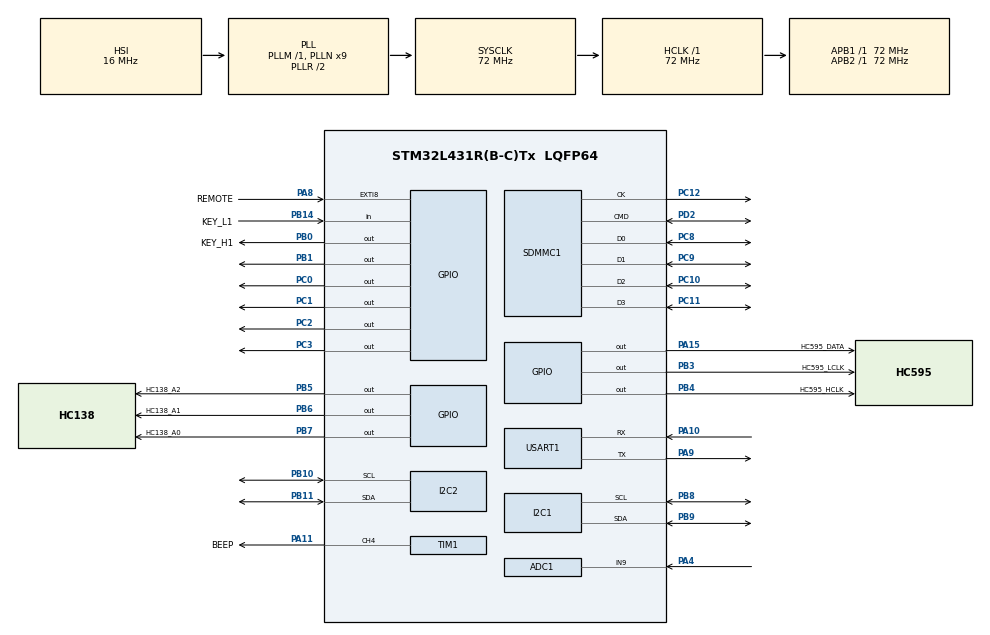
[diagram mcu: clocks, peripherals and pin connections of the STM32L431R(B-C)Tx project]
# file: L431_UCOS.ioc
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ADC1.Channel-0\#ChannelRegularConversion=ADC_CHANNEL_9
ADC1.NbrOfConversionFlag=1
ADC1.OffsetNumber-0\#ChannelRegularConversion=ADC_OFFSET_NONE
ADC1.Rank-0\#ChannelRegularConversion=1
ADC1.SamplingTime-0\#ChannelRegularConversion=ADC_SAMPLETIME_2CYCLES_5
ADC1.master=1
I2C1.Timing=0x10C18DCC
I2C2.Timing=0x10C18DCC
Mcu.Family=STM32L4
Mcu.Name=STM32L431R(B-C)Tx
Mcu.Package=LQFP64
NVIC.EXTI9_5_IRQn=true\:0\:0\:false\:false\:true\:true\:true\:true
NVIC.PriorityGroup=NVIC_PRIORITYGROUP_4
PA10.Mode=Asynchronous
PA10.Signal=USART1_RX
PA11.GPIO_Label=BEEP
PA11.Signal=S_TIM1_CH4
PA13\ (JTMS-SWDIO).Mode=Serial_Wire
PA13\ (JTMS-SWDIO).Signal=SYS_JTMS-SWDIO
PA14\ (JTCK-SWCLK).Mode=Serial_Wire
PA14\ (JTCK-SWCLK).Signal=SYS_JTCK-SWCLK
PA15\ (JTDI).GPIO_Label=HC595_DATA
PA15\ (JTDI).GPIO_Speed=GPIO_SPEED_FREQ_HIGH
PA15\ (JTDI).PinState=GPIO_PIN_RESET
PA15\ (JTDI).Signal=GPIO_Output
PA4.Signal=ADCx_IN9
PA8.GPIO_Label=REMOTE
PA8.GPIO_ModeDefaultEXTI=GPIO_MODE_IT_RISING_FALLING
PA8.Signal=GPXTI8
PA9.Mode=Asynchronous
PA9.Signal=USART1_TX
PB0.GPIO_Label=KEY_H1
PB0.PinState=GPIO_PIN_SET
PB0.Signal=GPIO_Output
PB1.PinState=GPIO_PIN_SET
PB1.Signal=GPIO_Output
PB10.Mode=I2C
PB10.Signal=I2C2_SCL
PB11.Mode=I2C
PB11.Signal=I2C2_SDA
PB14.GPIO_Label=KEY_L1
PB14.GPIO_PuPd=GPIO_PULLUP
PB14.Signal=GPIO_Input
PB3\ (JTDO-TRACESWO).GPIO_Label=HC595_LCLK
PB3\ (JTDO-TRACESWO).GPIO_Speed=GPIO_SPEED_FREQ_HIGH
PB3\ (JTDO-TRACESWO).Signal=GPIO_Output
PB4\ (NJTRST).GPIO_Label=HC595_HCLK
PB4\ (NJTRST).GPIO_Speed=GPIO_SPEED_FREQ_HIGH
PB4\ (NJTRST).Signal=GPIO_Output
PB5.GPIO_Label=HC138_A2
PB5.GPIO_Speed=GPIO_SPEED_FREQ_HIGH
PB5.Signal=GPIO_Output
PB6.GPIO_Label=HC138_A1
PB6.GPIO_Speed=GPIO_SPEED_FREQ_HIGH
PB6.Signal=GPIO_Output
PB7.GPIO_Label=HC138_A0
PB7.GPIO_Speed=GPIO_SPEED_FREQ_HIGH
PB7.Signal=GPIO_Output
PB8.Mode=I2C
PB8.Signal=I2C1_SCL
PB9.Mode=I2C
PB9.Signal=I2C1_SDA
PC0.Signal=GPIO_Output
PC1.Signal=GPIO_Output
PC10.Mode=SD_4_bits_Wide_bus
PC10.Signal=SDMMC1_D2
PC11.Mode=SD_4_bits_Wide_bus
PC11.Signal=SDMMC1_D3
PC12.Mode=SD_4_bits_Wide_bus
PC12.Signal=SDMMC1_CK
PC2.Signal=GPIO_Output
PC3.Signal=GPIO_Output
PC8.Mode=SD_4_bits_Wide_bus
PC8.Signal=SDMMC1_D0
PC9.Mode=SD_4_bits_Wide_bus
PC9.Signal=SDMMC1_D1
PD2.Mode=SD_4_bits_Wide_bus
PD2.Signal=SDMMC1_CMD
PH0-OSC_IN\ (PH0).Mode=HSE-External-Oscillator
PH0-OSC_IN\ (PH0).Signal=RCC_OSC_IN
PH1-OSC_OUT\ (PH1).Mode=HSE-External-Oscillator
PH1-OSC_OUT\ (PH1).Signal=RCC_OSC_OUT
ProjectManager.HeapSize=0x200
ProjectManager.StackSize=0x400
ProjectManager.TargetToolchain=STM32CubeIDE
RCC.ADCFreq_Value=64000000
RCC.AHBFreq_Value=72000000
RCC.APB1Freq_Value=72000000
RCC.APB1TimFreq_Value=72000000
RCC.APB2Freq_Value=72000000
RCC.APB2TimFreq_Value=72000000
RCC.CortexFreq_Value=72000000
RCC.HCLKFreq_Value=72000000
RCC.HSE_VALUE=8000000
RCC.HSI48_VALUE=48000000
RCC.HSI_VALUE=16000000
RCC.LSE_VALUE=32768
RCC.MSI_VALUE=4000000
RCC.PLLN=9
RCC.PLLSAI1Q=RCC_PLLQ_DIV4
RCC.PLLSourceVirtual=RCC_PLLSOURCE_HSI
RCC.SYSCLKFreq_VALUE=72000000
RCC.SYSCLKSource=RCC_SYSCLKSOURCE_PLLCLK
RCC.VCOOutputFreq_Value=144000000
SH.ADCx_IN9.0=ADC1_IN9,IN9-Single-Ended
SH.S_TIM1_CH4.0=TIM1_CH4,PWM Generation4 CH4
TIM1.Channel-PWM\ Generation4\ CH4=TIM_CHANNEL_4
USART1.VirtualMode-Asynchronous=VM_ASYNC
VP_FATFS_VS_SDIO.Mode=SDIO
VP_RTC_VS_RTC_Activate.Mode=RTC_Enabled
VP_TIM1_VS_ClockSourceINT.Mode=Internal
board=custom

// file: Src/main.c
/* USER CODE BEGIN Header */
/**
  ******************************************************************************
  * @file           : main.c
  * @brief          : Main program body
  ******************************************************************************
  * @attention
  *
  * Copyright (c) 2026 STMicroelectronics.
  * All rights reserved.
  *
  * This software is licensed under terms that can be found in the LICENSE file
  * in the root directory of this software component.
  * If no LICENSE file comes with this software, it is provided AS-IS.
  *
  ******************************************************************************
  */
/* USER CODE END Header */
#include "main.h"
#include "adc.h"
#include "fatfs.h"
#include "i2c.h"
#include "rtc.h"
#include "sdmmc.h"
#include "tim.h"
#include "usart.h"
#include "gpio.h"

/* USER CODE BEGIN Includes */
#include "os.h"
#include "cpu.h"
#include "OLED.h"
#include "bmp280.h"
#include "Timer.h"
#include "TF.h"
#include "key.h"
#include "EEPROM.h"
#include "REMOTE.h"
#include <stdio.h>
/* USER CODE END Includes */

/* USER CODE BEGIN PD */
#define BUZZER_FORCE_TEST            0U

/* USER CODE END PD */

/* USER CODE BEGIN PV */
OS_TCB ADCTaskTCB;

CPU_STK ADCTaskStk[256];

OS_TCB OLEDTaskTCB;
CPU_STK OLEDTaskStk[256];

OS_TCB SegmentTaskTCB;
CPU_STK SegmentTaskStk[256];

OS_TCB TFTaskTCB;
CPU_STK TFTaskStk[256];

OS_TCB KeyTaskTCB;
CPU_STK KeyTaskStk[256];

static volatile uint16_t LatestAdcRaw = 0U;
static volatile float LatestLightLux = 0.0f;
static volatile float LatestTemperatureC = 0.0f;
static volatile CPU_BOOLEAN TemperatureValid = DEF_FALSE;
static volatile CPU_BOOLEAN DisplayKey1Page = DEF_FALSE;
static volatile CPU_BOOLEAN EnvironmentDisplayDirty = DEF_FALSE;
static volatile float BuzzerLightThresholdLux =
    BUZZER_LIGHT_THRESHOLD_DEFAULT_LUX;

void ADCTask(void *p_arg);
void OLEDTask(void *p_arg);
void SegmentTask(void *p_arg);
void TFTask(void *p_arg);
void KeyTask(void *p_arg);
/* USER CODE END PV */

void SystemClock_Config(void);
void PeriphCommonClock_Config(void);
/* USER CODE BEGIN PFP */
void ADCTask(void *p_arg)
{
    OS_ERR err;
    CPU_BOOLEAN buzzer_on = DEF_FALSE;

    (void)p_arg;

    /* Initialize the uC/OS tick in the first/highest-priority app task. */
    OS_CPU_SysTickInitFreq(SystemCoreClock);

    if (LightSensor_Init() != HAL_OK)
    {
        printf("ADC init failed\r\n");
    }

#if BUZZER_FORCE_TEST
    if (HAL_TIM_PWM_Start(&htim1, TIM_CHANNEL_4) == HAL_OK)
    {
        buzzer_on = DEF_TRUE;
        printf("Buzzer force test: PWM started, BEEP=ON\r\n");
    }
    else
    {
        printf("Buzzer force test: PWM start failed, BEEP=OFF\r\n");
    }
#endif

    while(1)
    {
        uint16_t adc_raw = LightSensor_ReadRaw();
        float lux = LightSensor_ConvertToLux(adc_raw);
        LatestAdcRaw = adc_raw;
        LatestLightLux = lux;

#if !BUZZER_FORCE_TEST
        if ((lux > BuzzerLightThresholdLux) &&
            (buzzer_on == DEF_FALSE))
        {
            if (HAL_TIM_PWM_Start(&htim1, TIM_CHANNEL_4) == HAL_OK)
                buzzer_on = DEF_TRUE;
            else
                printf("Buzzer PWM start failed\r\n");
        }
        else if ((lux <= BuzzerLightThresholdLux) &&
                 (buzzer_on == DEF_TRUE))
        {
            if (HAL_TIM_PWM_Stop(&htim1, TIM_CHANNEL_4) == HAL_OK)
                buzzer_on = DEF_FALSE;
            else
                printf("Buzzer PWM stop failed\r\n");
        }
#endif

        HAL_GPIO_TogglePin(GPIOC, GPIO_PIN_1);
        printf("ADC=%u, Light=%lu.%lu lux, BEEP=%s\r\n", adc_raw,
               (unsigned long)((uint32_t)(lux * 10.0f) / 10U),
               (unsigned long)((uint32_t)(lux * 10.0f) % 10U),
               (buzzer_on == DEF_TRUE) ? "ON" : "OFF");

        OSTimeDly(OSCfg_TickRate_Hz, OS_OPT_TIME_DLY, &err);
        if (err != OS_ERR_NONE)
        {
            printf("ADCTask delay error=%u\r\n", (unsigned int)err);
        }
    }
}

void OLEDTask(void *p_arg)
{
    OS_ERR err;
    float temperature_c = 0.0f;
    float pressure_pa = 0.0f;
    CPU_BOOLEAN bmp280_ready = DEF_FALSE;
    CPU_BOOLEAN eeprom_ready = DEF_FALSE;
    CPU_BOOLEAN previous_key_page = DEF_FALSE;
    uint8_t animation_frame = 0U;
    uint8_t sensor_ticks = 10U;
    uint8_t eeprom_sample_count = 10U;
    (void)p_arg;

    if (OLED_Init() != HAL_OK)
        printf("OLED init failed\r\n");

    if (EEPROM_Init(&hi2c1) == HAL_OK)
    {
        eeprom_ready = DEF_TRUE;
        if (EEPROM_LoadTemperature(&temperature_c) == HAL_OK)
        {
            LatestTemperatureC = temperature_c;
            TemperatureValid = DEF_TRUE;
            printf("EEPROM restored temperature=%ld.%02ld C\r\n",
                   (long)((int32_t)(temperature_c * 100.0f) / 100),
                   (long)((int32_t)(temperature_c * 100.0f) >= 0 ?
                          ((int32_t)(temperature_c * 100.0f) % 100) :
                          -((int32_t)(temperature_c * 100.0f) % 100)));
        }
        else
        {
            printf("EEPROM ready, no saved temperature\r\n");
        }
    }
    else
    {
        uint8_t address;
        printf("EEPROM not detected on I2C1 address 0x50\r\n");
        printf("I2C1 scan:");
        for (address = 0x03U; address <= 0x77U; ++address)
        {
            if (HAL_I2C_IsDeviceReady(&hi2c1, (uint16_t)address << 1U,
                                      1U, 10U) == HAL_OK)
            {
                printf(" 0x%02X", (unsigned int)address);
            }
        }
        printf("\r\n");
    }

    if (BMP280_Init(&hi2c2) == HAL_OK)
        bmp280_ready = DEF_TRUE;
    else
        printf("BMP280 init failed on I2C2 (PB10/PB11)\r\n");

    while (1)
    {
        CPU_BOOLEAN key_page = DisplayKey1Page;
        CPU_BOOLEAN environment_update = DEF_FALSE;
        float threshold_lux = BuzzerLightThresholdLux;

        /* Take a local snapshot so ADC task may continue sampling. */
        float lux = LatestLightLux;

        /* The task runs every 100 ms; update the BMP280 about once a second. */
        if (sensor_ticks >= 10U)
        {
            sensor_ticks = 0U;
            environment_update = DEF_TRUE;

            if (bmp280_ready == DEF_TRUE)
            {
                if (BMP280_ReadMeasurements(&hi2c2, &temperature_c,
                                            &pressure_pa) != HAL_OK)
                {
                    printf("BMP280 read failed, error=%u, i2c=%u\r\n",
                           (unsigned int)bmp280_last_error,
                           (unsigned int)HAL_I2C_GetError(&hi2c2));
                }
                else
                {
                    LatestTemperatureC = temperature_c;
                    TemperatureValid = DEF_TRUE;
                    printf("Temperature=%ld.%ld C, Pressure=%lu.%lu hPa\r\n",
                           (long)((int32_t)(temperature_c * 10.0f) / 10),
                           (long)((int32_t)(temperature_c * 10.0f) % 10),
                           (unsigned long)((uint32_t)(pressure_pa / 10.0f) / 10U),
                           (unsigned long)((uint32_t)(pressure_pa / 10.0f) % 10U));

                    if (eeprom_ready == DEF_TRUE)
                    {
                        if (eeprom_sample_count >= 10U)
                        {
                            eeprom_sample_count = 0U;
                            if (EEPROM_SaveTemperature(temperature_c) == HAL_OK)
                                printf("EEPROM temperature saved\r\n");
                            else
                                printf("EEPROM temperature save failed, i2c=%u\r\n",
                                       (unsigned int)HAL_I2C_GetError(&hi2c1));
                        }
                        else
                        {
                            eeprom_sample_count++;
                        }
                    }
                }
            }
        }
        else
        {
            sensor_ticks++;
        }

        if (key_page == DEF_TRUE)
        {
            if (previous_key_page == DEF_FALSE)
                animation_frame = 0U;

            (void)OLED_DisplayAnimationFrame(animation_frame);
            animation_frame++;
            if (animation_frame >= OLED_GetAnimationFrameCount())
                animation_frame = 0U;
        }
        else if ((previous_key_page == DEF_TRUE) ||
                 (environment_update == DEF_TRUE) ||
                 (EnvironmentDisplayDirty == DEF_TRUE))
        {
            (void)OLED_DisplayEnvironment(lux, temperature_c, pressure_pa,
                                          threshold_lux);
            EnvironmentDisplayDirty = DEF_FALSE;
        }

        previous_key_page = key_page;
        OSTimeDly((OSCfg_TickRate_Hz + 9U) / 10U,
                  OS_OPT_TIME_DLY, &err);
    }
}

void KeyTask(void *p_arg)
{
    OS_ERR err;
    (void)p_arg;

    KEY_Init();

    while (1)
    {
        KEY_Value_t key = KEY_DebounceProcess(10U);

        if (key == KEY_VALUE_ROW1_COL4)
        {
            DisplayKey1Page = (DisplayKey1Page == DEF_FALSE) ?
                              DEF_TRUE : DEF_FALSE;
            printf("KEY1_1 pressed, OLED=%s\r\n",
                   (DisplayKey1Page == DEF_TRUE) ? "KEY PAGE" : "ENV PAGE");
        }
        else if (key == KEY_VALUE_ROW2_COL4)
        {
            BuzzerLightThresholdLux += 10.0f;
            DisplayKey1Page = DEF_FALSE;
            EnvironmentDisplayDirty = DEF_TRUE;
            printf("KEY2_1 pressed, threshold=%lu lux\r\n",
                   (unsigned long)BuzzerLightThresholdLux);
        }

        OSTimeDly((OSCfg_TickRate_Hz + 99U) / 100U,
                  OS_OPT_TIME_DLY, &err);
    }
}

void TFTask(void *p_arg)
{
    OS_ERR err;
    const char *filename = "0:/temperature.csv";
    uint32_t elapsed_seconds = 0U;
    uint32_t records_written = 0U;
    uint32_t mount_attempts = 1U;
    CPU_BOOLEAN tf_ready = DEF_FALSE;
    (void)p_arg;

    printf("TF task started, drive=%s\r\n", SDPath);

    if (TF_Init() != 0U)
    {
        tf_ready = DEF_TRUE;
        printf("TF mounted successfully\r\n");
        /* A repeated header is harmless and clearly marks each power-up. */
        if (TF_Append(filename, "elapsed_s,temperature_c\r\n") == 0U)
            printf("TF header write failed, FatFs error=%u\r\n",
                   (unsigned int)TF_GetLastResult());
    }
    else
        printf("TF mount failed, FatFs=%u, HAL_SD state=%u, error=0x%08lX\r\n",
               (unsigned int)TF_GetLastResult(),
               (unsigned int)HAL_SD_GetState(&hsd1),
               (unsigned long)HAL_SD_GetError(&hsd1));
        printf("SD diag: clk=%luHz type=%lu ver=%lu rca=0x%04lX "
               "STA=0x%08lX RESP1=0x%08lX CLKCR=0x%08lX\r\n",
               (unsigned long)HAL_RCCEx_GetPeriphCLKFreq(RCC_PERIPHCLK_SDMMC1),
               (unsigned long)hsd1.SdCard.CardType,
               (unsigned long)hsd1.SdCard.CardVersion,
               (unsigned long)hsd1.SdCard.RelCardAdd,
               (unsigned long)hsd1.Instance->STA,
               (unsigned long)hsd1.Instance->RESP1,
               (unsigned long)hsd1.Instance->CLKCR);
        printf("SD pins: PC_IDR=0x%04lX PD_IDR=0x%04lX "
               "PC_AFRH=0x%08lX PD_AFRL=0x%08lX\r\n",
               (unsigned long)(GPIOC->IDR & 0xFFFFU),
               (unsigned long)(GPIOD->IDR & 0xFFFFU),
               (unsigned long)GPIOC->AFR[1],
               (unsigned long)GPIOD->AFR[0]);

    while (1)
    {
        /* Allow the system to recover if the card was inserted after boot. */
        if (tf_ready == DEF_FALSE)
        {
            mount_attempts++;
            if (TF_Init() != 0U)
            {
                tf_ready = DEF_TRUE;
                printf("TF recovered and mounted on attempt %lu\r\n",
                       (unsigned long)mount_attempts);
                (void)TF_Append(filename, "elapsed_s,temperature_c\r\n");
            }
            else
            {
                printf("TF still not ready, attempt=%lu, FatFs=%u, "
                       "state=%u, HAL error=0x%08lX\r\n",
                       (unsigned long)mount_attempts,
                       (unsigned int)TF_GetLastResult(),
                       (unsigned int)HAL_SD_GetState(&hsd1),
                       (unsigned long)HAL_SD_GetError(&hsd1));
                printf("SD retry diag: type=%lu ver=%lu rca=0x%04lX "
                       "blocks=%lu block_size=%lu RESP1=0x%08lX "
                       "STA=0x%08lX CLKCR=0x%08lX\r\n",
                       (unsigned long)hsd1.SdCard.CardType,
                       (unsigned long)hsd1.SdCard.CardVersion,
                       (unsigned long)hsd1.SdCard.RelCardAdd,
                       (unsigned long)hsd1.SdCard.LogBlockNbr,
                       (unsigned long)hsd1.SdCard.LogBlockSize,
                       (unsigned long)hsd1.Instance->RESP1,
                       (unsigned long)hsd1.Instance->STA,
                       (unsigned long)hsd1.Instance->CLKCR);
            }
        }

        if ((tf_ready == DEF_TRUE) && (TemperatureValid == DEF_TRUE))
        {
            float temperature_c = LatestTemperatureC;
            if (TF_AppendTemperature(filename, elapsed_seconds,
                                     temperature_c) == 0U)
            {
                tf_ready = DEF_FALSE;
                printf("TF temperature write failed, FatFs error=%u\r\n",
                       (unsigned int)TF_GetLastResult());
            }
            else
            {
                records_written++;
                if ((records_written == 1U) ||
                    ((records_written % 10U) == 0U))
                {
                    printf("TF wrote %lu record(s) to %s\r\n",
                           (unsigned long)records_written, filename);
                }
            }
        }

        elapsed_seconds++;
        OSTimeDly(OSCfg_TickRate_Hz, OS_OPT_TIME_DLY, &err);
    }
}

void SegmentTask(void *p_arg)
{
    OS_ERR err;
    uint32_t scan_count;
    uint32_t task_ticks = 0U;
    uint8_t b[8], month, day, hour, minute, second;
    (void)p_arg;

    if (SEG_Init() != HAL_OK)
        printf("7-segment/RTC init failed\r\n");

    while (1)
    {
        REMOTE_Data_t remote_data;

        if (REMOTE_GetData(&remote_data) && remote_data.valid)
        {
            uint8_t digit;
            if (REMOTE_CommandToDigit(remote_data.command, &digit))
                SEG_SetRemoteDigit(digit);
            if (!remote_data.is_repeat)
            {
                printf("REMOTE raw=0x%08lX address=0x%04X command=0x%02X\r\n",
                       (unsigned long)remote_data.raw_data,
                       (unsigned int)remote_data.address,
                       (unsigned int)remote_data.command);
            }
        }

        if (task_ticks >= 50U)
        {
            task_ticks = 0U;
            if (RTC_Read_Time() != HAL_OK)
                printf("RTC read failed\r\n");
            SEG_GetDiagnostics(&scan_count, b, &month, &day, &hour, &minute,
                               &second);
            printf("SEG scan=%lu RTC=%02u-%02u %02u:%02u:%02u "
                   "buf=%02X %02X %02X %02X %02X %02X %02X %02X\r\n",
                   (unsigned long)scan_count, month, day, hour, minute, second,
                   b[0], b[1], b[2], b[3], b[4], b[5], b[6], b[7]);
        }
        else
        {
            task_ticks++;
        }

        OSTimeDly((OSCfg_TickRate_Hz + 49U) / 50U,
                  OS_OPT_TIME_DLY, &err);
    }
}

/* USER CODE END PFP */

int main(void)
{

  /* MCU Configuration--------------------------------------------------------*/

  /* Reset of all peripherals, Initializes the Flash interface and the Systick. */
  HAL_Init();

  /* Configure the system clock */
  SystemClock_Config();

  /* Configure the peripherals common clocks */
  PeriphCommonClock_Config();

  /* Initialize all configured peripherals */
  MX_GPIO_Init();
  MX_I2C1_Init();
  MX_RTC_Init();
  MX_USART1_UART_Init();
  MX_ADC1_Init();
  MX_I2C2_Init();
  MX_SDMMC1_SD_Init();
  MX_FATFS_Init();
  MX_TIM1_Init();
  /* USER CODE BEGIN 2 */
  OS_ERR err;

  REMOTE_Init();

  printf("FatFs driver link: ret=%u, path=%s\r\n",
         (unsigned int)retSD, SDPath);

  /* 初始化uCOS */
  OSInit(&err);

  /* 创建第一个任务 */
  OSTaskCreate(
      &ADCTaskTCB,
      "ADC Task",
      ADCTask,
      0,
      2,
      &ADCTaskStk[0],
      256/10,
      256,
      0,
      0,
      0,
      OS_OPT_TASK_STK_CHK | OS_OPT_TASK_STK_CLR,
      &err
  );

  OSTaskCreate(
      &OLEDTaskTCB,
      "OLED Task",
      OLEDTask,
      0,
      3,
      &OLEDTaskStk[0],
      256/10,
      256,
      0,
      0,
      0,
      OS_OPT_TASK_STK_CHK | OS_OPT_TASK_STK_CLR,
      &err
  );

  OSTaskCreate(
      &SegmentTaskTCB,
      "Segment Task",
      SegmentTask,
      0,
      4,
      &SegmentTaskStk[0],
      256/10,
      256,
      0,
      0,
      0,
      OS_OPT_TASK_STK_CHK | OS_OPT_TASK_STK_CLR,
      &err
  );

  OSTaskCreate(
      &TFTaskTCB,
      "TF Task",
      TFTask,
      0,
      5,
      &TFTaskStk[0],
      256/10,
      256,
      0,
      0,
      0,
      OS_OPT_TASK_STK_CHK | OS_OPT_TASK_STK_CLR,
      &err
  );
  if (err != OS_ERR_NONE)
      printf("TF task create failed, OS error=%u\r\n", (unsigned int)err);

  OSTaskCreate(
      &KeyTaskTCB,
      "Key Task",
      KeyTask,
      0,
      6,
      &KeyTaskStk[0],
      256/10,
      256,
      0,
      0,
      0,
      OS_OPT_TASK_STK_CHK | OS_OPT_TASK_STK_CLR,
      &err
  );
  if (err != OS_ERR_NONE)
      printf("Key task create failed, OS error=%u\r\n", (unsigned int)err);

  /* 启动调度器 */
  OSStart(&err);
  /* USER CODE END 2 */

  /* Infinite loop */
  while (1)
  {

  }
}

void SystemClock_Config(void)
{
  RCC_OscInitTypeDef RCC_OscInitStruct = {0};
  RCC_ClkInitTypeDef RCC_ClkInitStruct = {0};

  /** Configure the main internal regulator output voltage
  */
  if (HAL_PWREx_ControlVoltageScaling(PWR_REGULATOR_VOLTAGE_SCALE1) != HAL_OK)
  {
    Error_Handler();
  }

  /** Initializes the RCC Oscillators according to the specified parameters
  * in the RCC_OscInitTypeDef structure.
  */
  RCC_OscInitStruct.OscillatorType = RCC_OSCILLATORTYPE_HSI|RCC_OSCILLATORTYPE_LSI;
  RCC_OscInitStruct.HSIState = RCC_HSI_ON;
  RCC_OscInitStruct.HSICalibrationValue = RCC_HSICALIBRATION_DEFAULT;
  RCC_OscInitStruct.LSIState = RCC_LSI_ON;
  RCC_OscInitStruct.PLL.PLLState = RCC_PLL_ON;
  RCC_OscInitStruct.PLL.PLLSource = RCC_PLLSOURCE_HSI;
  RCC_OscInitStruct.PLL.PLLM = 1;
  RCC_OscInitStruct.PLL.PLLN = 9;
  RCC_OscInitStruct.PLL.PLLP = RCC_PLLP_DIV7;
  RCC_OscInitStruct.PLL.PLLQ = RCC_PLLQ_DIV2;
  RCC_OscInitStruct.PLL.PLLR = RCC_PLLR_DIV2;
  if (HAL_RCC_OscConfig(&RCC_OscInitStruct) != HAL_OK)
  {
    Error_Handler();
  }

  /** Initializes the CPU, AHB and APB buses clocks
  */
  RCC_ClkInitStruct.ClockType = RCC_CLOCKTYPE_HCLK|RCC_CLOCKTYPE_SYSCLK
                              |RCC_CLOCKTYPE_PCLK1|RCC_CLOCKTYPE_PCLK2;
  RCC_ClkInitStruct.SYSCLKSource = RCC_SYSCLKSOURCE_PLLCLK;
  RCC_ClkInitStruct.AHBCLKDivider = RCC_SYSCLK_DIV1;
  RCC_ClkInitStruct.APB1CLKDivider = RCC_HCLK_DIV1;
  RCC_ClkInitStruct.APB2CLKDivider = RCC_HCLK_DIV1;

  if (HAL_RCC_ClockConfig(&RCC_ClkInitStruct, FLASH_LATENCY_4) != HAL_OK)
  {
    Error_Handler();
  }
}

void PeriphCommonClock_Config(void)
{
  RCC_PeriphCLKInitTypeDef PeriphClkInit = {0};

  /** Initializes the peripherals clock
  */
  PeriphClkInit.PeriphClockSelection = RCC_PERIPHCLK_SDMMC1|RCC_PERIPHCLK_ADC;
  PeriphClkInit.AdcClockSelection = RCC_ADCCLKSOURCE_PLLSAI1;
  PeriphClkInit.Sdmmc1ClockSelection = RCC_SDMMC1CLKSOURCE_PLLSAI1;
  PeriphClkInit.PLLSAI1.PLLSAI1Source = RCC_PLLSOURCE_HSI;
  PeriphClkInit.PLLSAI1.PLLSAI1M = 1;
  PeriphClkInit.PLLSAI1.PLLSAI1N = 8;
  PeriphClkInit.PLLSAI1.PLLSAI1P = RCC_PLLP_DIV7;
  PeriphClkInit.PLLSAI1.PLLSAI1Q = RCC_PLLQ_DIV4;
  PeriphClkInit.PLLSAI1.PLLSAI1R = RCC_PLLR_DIV2;
  PeriphClkInit.PLLSAI1.PLLSAI1ClockOut = RCC_PLLSAI1_48M2CLK|RCC_PLLSAI1_ADC1CLK;
  if (HAL_RCCEx_PeriphCLKConfig(&PeriphClkInit) != HAL_OK)
  {
    Error_Handler();
  }
}

void Error_Handler(void)
{
  __disable_irq();
  while (1)
  {
  }
}
